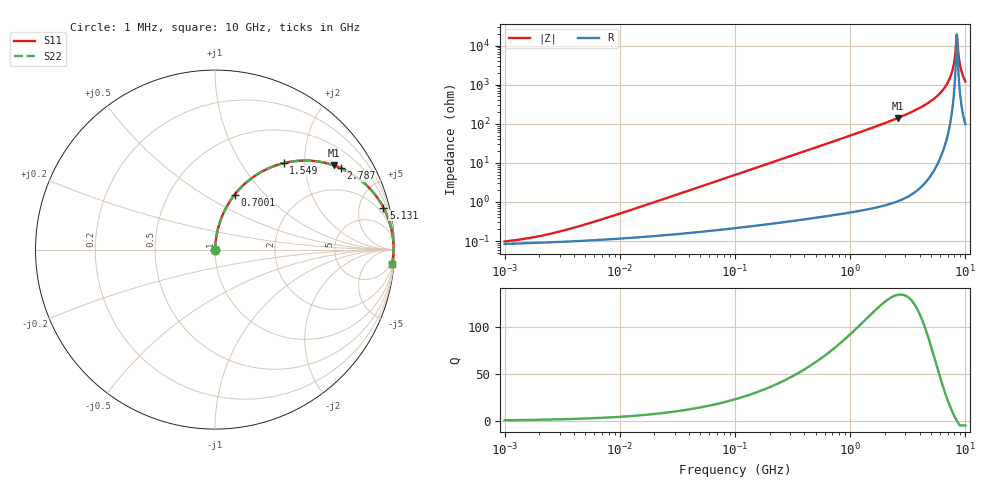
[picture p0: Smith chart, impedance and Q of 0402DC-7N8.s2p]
# MHz  S  MA  R  50
!Freq  MagS11  AngS11  MagS21  AngS21  MagS12  AngS12  MagS22  AngS22
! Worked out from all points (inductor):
!   801 points, 1 MHz to 10 GHz, reference 50 ohm
!   read as one part in series: L = 7.8 nH near 6.532 MHz
!   highest Q = 135 at 2.601 GHz (marker M1), where L = 8.62 nH
!   self-resonance near 8.418 GHz
!   S11 on the Smith chart (normalised r, x): 1 MHz: 1.00, +0.00; 700.1 MHz: 1.01, +0.69; 1.549 GHz: 1.01, +1.57; 2.787 GHz: 1.02, +3.07; 5.131 GHz: 1.10, +7.99; 10 GHz: 3, -24
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1  0.0009743 30.1  0.9992 -0.0  0.9992 -0.0  0.0009743 30.1
2.089368  0.001366 48.4  0.9991 -0.1  0.9991 -0.1  0.001366 48.4
4.67769  0.002502 66.1  0.999 -0.1  0.999 -0.1  0.002502 66.1
21.6303  0.01067 82.1  0.9986 -0.6  0.9986 -0.6  0.01067 82.1
100.0216  0.04891 84.7  0.9967 -2.8  0.9967 -2.8  0.04891 84.7
467.8699  0.2234 76.1  0.971 -12.9  0.971 -12.9  0.2234 76.1
700.0569  0.3252 70.3  0.9414 -19.0  0.9414 -19.0  0.3252 70.3
1549.35  0.6153 51.5  0.783 -38.0  0.783 -38.0  0.6153 51.5
2163.497  0.7475 41.2  0.6586 -48.4  0.6586 -48.4  0.7475 41.2
2601.118  0.8126 35.2  0.5768 -54.4  0.5768 -54.4  0.8126 35.2
2787.157  0.8348 33.0  0.5444 -56.6  0.5444 -56.6  0.8348 33.0
3937.028  0.924 22.0  0.3745 -67.5  0.3745 -67.5  0.924 22.0
5130.667  0.9671 14.0  0.2422 -75.2  0.2422 -75.2  0.9671 14.0
6168.472  0.9849 8.7  0.1515 -80.0  0.1515 -80.0  0.9849 8.7
7082.399  0.9924 4.8  0.08428 -82.4  0.08428 -82.4  0.9924 4.8
7676.832  0.9945 2.6  0.04544 -81.7  0.04544 -81.7  0.9945 2.6
8131.735  0.995 1.0  0.01812 -73.4  0.01812 -73.4  0.995 1.0
8417.515  0.9949 0.0  0.005181 -9.2  0.005181 -9.2  0.9949 0.0
8713.339  0.9945 -0.9  0.01669 70.3  0.01669 70.3  0.9945 -0.9
9019.56  0.9938 -1.9  0.0329 78.2  0.0329 78.2  0.9938 -1.9
9336.542  0.9928 -2.8  0.04939 80.2  0.04939 80.2  0.9928 -2.8
10000  0.9899 -4.7  0.08234 80.6  0.08234 80.6  0.9899 -4.7
